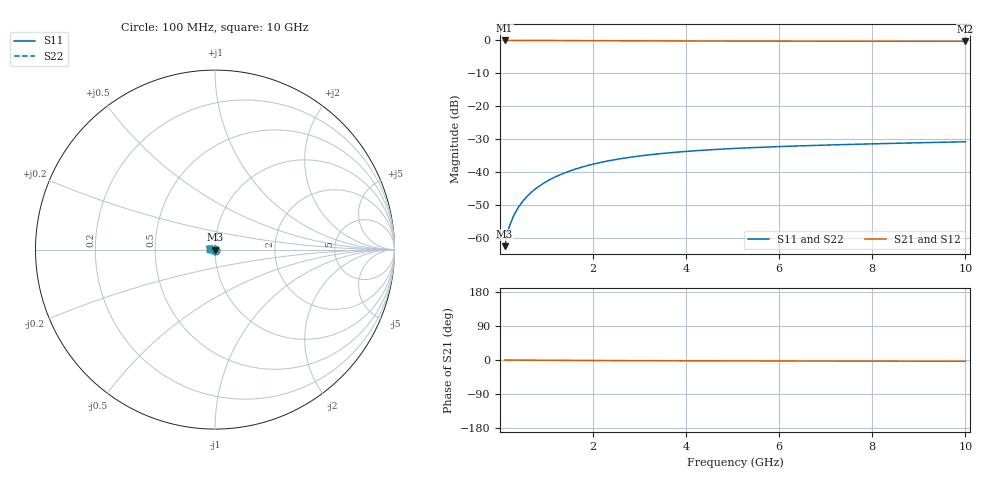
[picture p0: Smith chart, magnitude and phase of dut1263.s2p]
! Touchstone file exported from HFSS 2024.1.0
!  File:  C:/UserFiles/LocalFiles/RDL_TSV_Batchsim/temp_TSV1_1263_1780253727.aedt
!  Generated:  03:02:29 AM Jun  1, 2026
!  Design:  TSV1
!  Project:  temp_TSV1_1263_1780253727
!  Setup:  Setup1
!  Solution:  Sweep
! Variables:
!  dtsv = 9.52um
!  hbump = 3um
!  htsv = 50.38um
!  lrdl = 252.1521522um
!  p = 40
!  p1 = 47.6um
!  t = 500um
!  trdl = 3um
!  wrdl = 24.89489489um
# GHz S MA R 50.000000
! Terminal data exported
! Port[1] = TSV22_T1
! Port[2] = TSV22_T2
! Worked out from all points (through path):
!   100 points, 100 MHz to 10 GHz, reference 50 ohm
!   highest |S21| = 0.00 dB at 100 MHz (marker M1); lowest = -0.3 dB at 10 GHz (marker M2)
!   lowest |S11| = -62.4 dB at 100 MHz (marker M3), VSWR 1.00, Z = 50 - j0.0756 ohm
!   |S11| at or under -10 dB: start of sweep to end of sweep
!   |S22| runs from -62.4 to -30.7 dB; largest |S21 - S12| = 1.7e-15
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0.1  0.0007624 -82.4  0.9998 -0.1  0.9998 -0.1  0.0007624 -82.4
! Gamma 0 0 0 0
! Port Impedance 50 0 50 0
0.2  0.001508 -89.0  0.9998 -0.2  0.9998 -0.2  0.001508 -89.0
0.3  0.002254 -92.4  0.9996 -0.2  0.9996 -0.2  0.002254 -92.4
0.4  0.002996 -95.0  0.9995 -0.3  0.9995 -0.3  0.002996 -95.0
0.5  0.003733 -97.4  0.9992 -0.4  0.9992 -0.4  0.003733 -97.4
0.6  0.004463 -99.5  0.9989 -0.5  0.9989 -0.5  0.004463 -99.5
0.7  0.005184 -101.5  0.9986 -0.6  0.9986 -0.6  0.005184 -101.5
0.8  0.005895 -103.5  0.9983 -0.6  0.9983 -0.6  0.005895 -103.5
0.9  0.006595 -105.4  0.9979 -0.7  0.9979 -0.7  0.006595 -105.4
1.1  0.007958 -109.0  0.997 -0.8  0.997 -0.8  0.007958 -109.0
1.4  0.009895 -114.2  0.9955 -1.0  0.9955 -1.0  0.009895 -114.2
1.6  0.01111 -117.5  0.9944 -1.2  0.9944 -1.2  0.01111 -117.5
1.8  0.01225 -120.6  0.9933 -1.3  0.9933 -1.3  0.01225 -120.6
2.1  0.01384 -125.1  0.9916 -1.4  0.9916 -1.4  0.01384 -125.1
2.5  0.01573 -130.7  0.9893 -1.6  0.9893 -1.6  0.01573 -130.7
2.9  0.01736 -135.7  0.9871 -1.7  0.9871 -1.7  0.01736 -135.7
3.4  0.0191 -141.5  0.9846 -1.9  0.9846 -1.9  0.0191 -141.5
4.2  0.0213 -149.5  0.9811 -2.1  0.9811 -2.1  0.0213 -149.5
5.1  0.02317 -157.1  0.9779 -2.4  0.9779 -2.4  0.02317 -157.1
6.7  0.02557 -168.1  0.974 -2.7  0.974 -2.7  0.02557 -168.1
8.4  0.02751 -177.4  0.9712 -3.1  0.9712 -3.1  0.02751 -177.4
10  0.02915 175.2  0.9694 -3.4  0.9694 -3.4  0.02915 175.2
